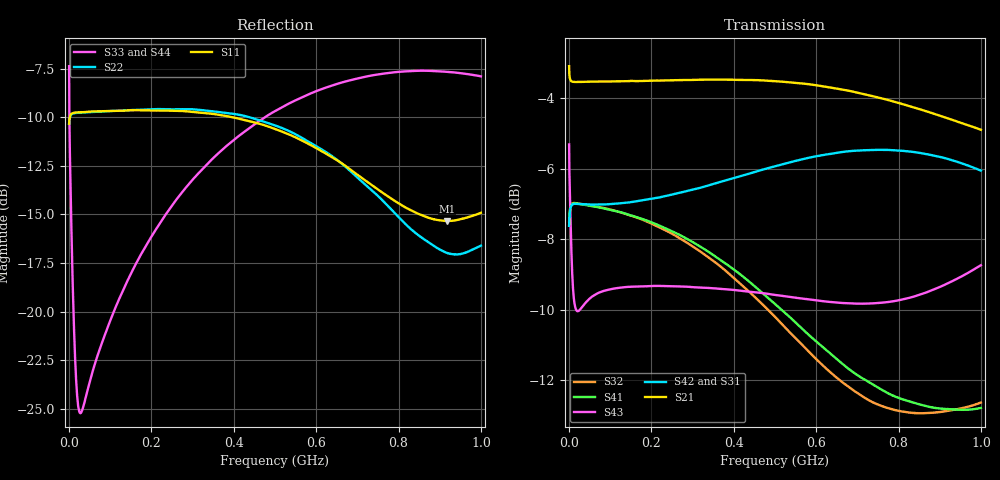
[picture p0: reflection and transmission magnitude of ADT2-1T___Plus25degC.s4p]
!ADT2-1T, Minicircuits Lab
!part is from MI96980
!Date: Tuesday, June 26, 2007 14:59:50
!Port 1: pin 1, port 2: pin 3, port 3: pin 6 and port 4: pin 4
# Hz S  dB  R 50
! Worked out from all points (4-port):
!   1601 points, 300 kHz to 1 GHz, reference 50 ohm
!   strongest paths, dB at 300 kHz, 250.2 MHz, 500.1 MHz, 750.1 MHz, 1 GHz:
!     S21: -3.1, -3.5, -3.5, -4.0, -4.9
!     S42: -7.6, -6.7, -5.9, -5.5, -6.1
!     S31: -7.5, -6.7, -6.0, -5.6, -6.4
!     S43: -5.3, -9.3, -9.6, -9.8, -8.7
!     S41: -7.6, -7.8, -9.8, -12.2, -12.8
!     S32: -7.5, -7.8, -10.2, -12.7, -12.6
!   lowest |S11| = -15.3 dB at 917.5 MHz (marker M1), VSWR 1.41, Z = 70.6 - j0.016 ohm
!   |S11| at or under -10 dB: start of sweep to 1.966 MHz; 398.5 MHz to end of sweep
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300000  -10.33 13.1  -3.10 -5.9  -7.54 -169.3  -7.63 10.9
        -3.08 -6.3  -10.31 13.7  -7.55 10.4  -7.65 -169.4
        -7.51 -169.2  -7.50 10.7  -7.36 150.5  -5.30 -175.7
        -7.62 10.6  -7.62 -169.4  -5.31 -176.0  -7.12 151.7
1.467069e7  -9.76 0.5  -3.53 -1.8  -6.97 179.3  -6.99 -0.6
            -3.53 -1.8  -9.78 0.5  -6.98 -0.7  -6.99 179.4
            -6.96 179.2  -6.97 -0.8  -22.32 124.0  -9.91 171.3
            -6.99 -0.6  -6.99 179.4  -9.91 171.3  -22.12 123.9
2.904138e7  -9.73 -0.1  -3.53 -2.9  -6.98 177.8  -7.01 -2.0
            -3.53 -2.9  -9.75 -0.0  -7.00 -2.2  -7.00 178.0
            -6.97 177.8  -7.00 -2.2  -25.22 143.3  -9.96 176.0
            -7.01 -2.0  -7.00 178.0  -9.97 176.0  -25.18 143.0
1.652505e8  -9.63 -3.0  -3.50 -15.4  -6.90 167.9  -7.38 -11.0
            -3.51 -15.4  -9.62 -2.7  -7.40 -11.7  -6.91 168.7
            -6.89 167.9  -7.39 -11.8  -17.43 107.1  -9.33 164.6
            -7.38 -11.0  -6.92 168.7  -9.34 164.7  -17.69 109.4
3.60192e8  -9.86 -9.4  -3.47 -34.2  -6.43 152.8  -8.54 -21.3
           -3.46 -34.2  -9.72 -9.5  -8.71 -22.5  -6.41 154.7
           -6.41 152.7  -8.71 -22.6  -11.90 72.1  -9.41 145.5
           -8.53 -21.4  -6.40 154.6  -9.41 145.6  -12.23 75.7
9.175248e8  -15.34 -0.0  -4.55 -96.7  -6.01 94.3  -12.82 -10.4
            -4.56 -96.7  -16.98 -2.1  -12.88 -6.3  -5.72 98.4
            -6.00 94.4  -12.88 -6.2  -7.65 2.8  -9.26 107.4
            -12.83 -10.2  -5.71 98.5  -9.27 107.5  -7.84 9.0
1e9  -14.92 9.6  -4.88 -106.3  -6.39 85.0  -12.79 -4.8
     -4.89 -106.3  -16.61 12.9  -12.63 -1.1  -6.05 89.2
     -6.40 85.1  -12.64 -1.1  -7.89 -7.4  -8.74 102.5
     -12.80 -4.7  -6.05 89.3  -8.74 102.5  -8.04 -1.3
